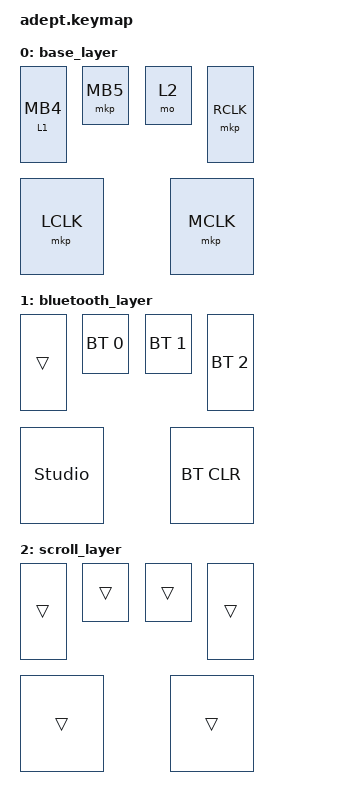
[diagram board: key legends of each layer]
#include <input/processors.dtsi>
#include <behaviors.dtsi>
#include <dt-bindings/zmk/bt.h>
#include <dt-bindings/zmk/pointing.h>
#include <dt-bindings/zmk/input_transform.h>

&trackball_listener {
    scroller {
        layers = <2>;
        input-processors = <&zip_xy_transform INPUT_TRANSFORM_Y_INVERT>,
                           <&zip_xy_scaler 1 60>,
                           //<&zip_xy_scaler 1 2>,  // replace above if using smooth scrolling
                           <&zip_xy_to_scroll_mapper>;
    };
};

/ {
    combos {
        compatible = "zmk,combos";

        bootloader {
            timeout-ms = <50>;
            key-positions = <3 0>;
            bindings = <&bootloader>;
        };
    };

    behaviors {
        mlt: mlt {
            compatible = "zmk,behavior-hold-tap";
            display-name = "Layer-mouse tap";
            bindings = <&mo>, <&mkp>;

            #binding-cells = <2>;
            tapping-term-ms = <200>;
            flavor = "tap-preferred";
        };
    };

    keymap {
        compatible = "zmk,keymap";

        base_layer {
            bindings = <
&mlt 1 MB4  &mkp MB5   &mo 2  &mkp RCLK
&mkp LCLK                     &mkp MCLK
            >;
        };

        bluetooth_layer {
            bindings = <
&trans          &bt BT_SEL 0  &bt BT_SEL 1  &bt BT_SEL 2
&studio_unlock                              &bt BT_CLR
            >;
        };

        scroll_layer {
            bindings = <
&trans  &trans  &trans  &trans
&trans                  &trans
            >;
        };
    };
};
